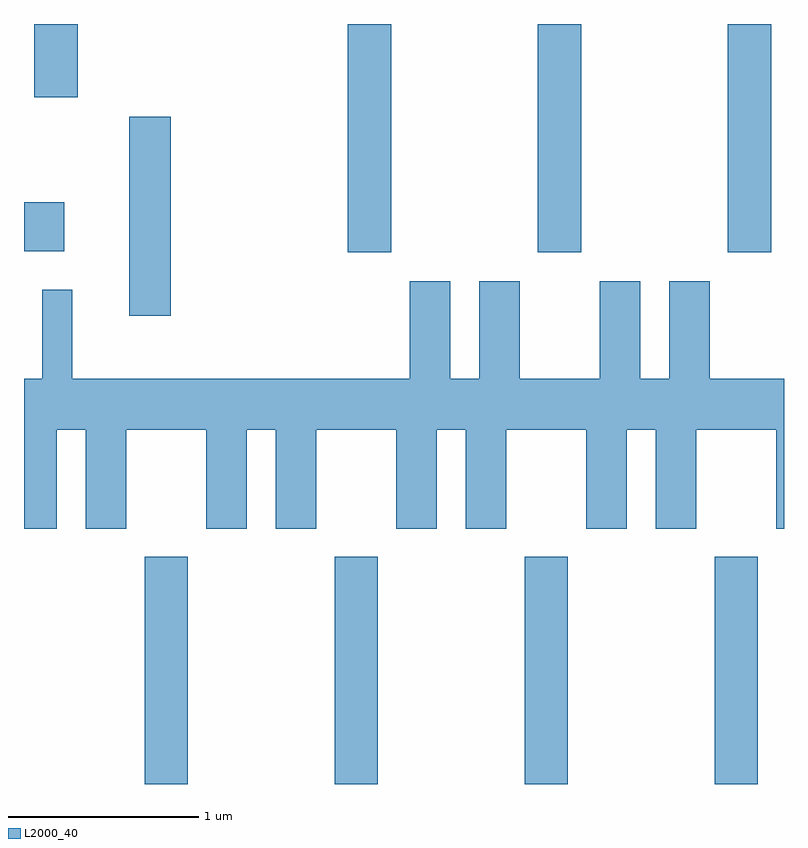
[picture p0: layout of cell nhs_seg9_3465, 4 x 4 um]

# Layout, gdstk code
import gdstk
lib = gdstk.Library(unit=1e-6, precision=1e-09)
def R(c, l, rs):  # rectangles x0, y0, x1, y1
    for r in rs: c.add(gdstk.rectangle(r[:2], r[2:], *l))
def A(c, l, x, y, w, h, nx, ny, dx, dy):  # array of equal rectangles
    R(c, l, [(x+i*dx, y+j*dy, x+i*dx+w, y+j*dy+h) for i in range(nx) for j in range(ny)])
def P(c, l, *ps):  # polygons
    for p in ps: c.add(gdstk.Polygon(p, *l))
L2000_40 = (2000, 40)

nhs_seg9_3465 = lib.new_cell('nhs_seg9_3465')
A(nhs_seg9_3465, L2000_40, 288.246, 1954.432, 0.228, 1.197, 4, 1, 1, 0)
A(nhs_seg9_3465, L2000_40, 289.316, 1957.231, 0.228, 1.201, 3, 1, 1, 0)
R(nhs_seg9_3465, L2000_40, [(288.166,1956.896,288.384,1957.944), (287.611,1957.236,287.824,1957.494), (287.666,1958.046,287.894,1958.432)])
P(nhs_seg9_3465, L2000_40, [(287.784,1956.296),(287.936,1956.296),(287.936,1955.776),(288.149,1955.776),(288.149,1956.296),(288.571,1956.296),(288.571,1955.776),(288.784,1955.776),(288.784,1956.296),(288.936,1956.296),(288.936,1955.776),(289.149,1955.776),(289.149,1956.296),(289.571,1956.296),(289.571,1955.776),(289.784,1955.776),(289.784,1956.296),(289.936,1956.296),(289.936,1955.776),(290.149,1955.776),(290.149,1956.296),(290.571,1956.296),(290.571,1955.776),(290.784,1955.776),(290.784,1956.296),(290.936,1956.296),(290.936,1955.776),(291.149,1955.776),(291.149,1956.296),(291.571,1956.296),(291.571,1955.776),(291.611,1955.776),(291.611,1956.564),(291.219,1956.564),(291.219,1957.079),(291.006,1957.079),(291.006,1956.564),(290.854,1956.564),(290.854,1957.079),(290.641,1957.079),(290.641,1956.564),(290.219,1956.564),(290.219,1957.079),(290.006,1957.079),(290.006,1956.564),(289.854,1956.564),(289.854,1957.079),(289.641,1957.079),(289.641,1956.564),(287.864,1956.564),(287.864,1957.033),(287.706,1957.033),(287.706,1956.564),(287.611,1956.564),(287.611,1955.776),(287.784,1955.776)])

lib.write_gds('nhs_seg9_3465.gds')
